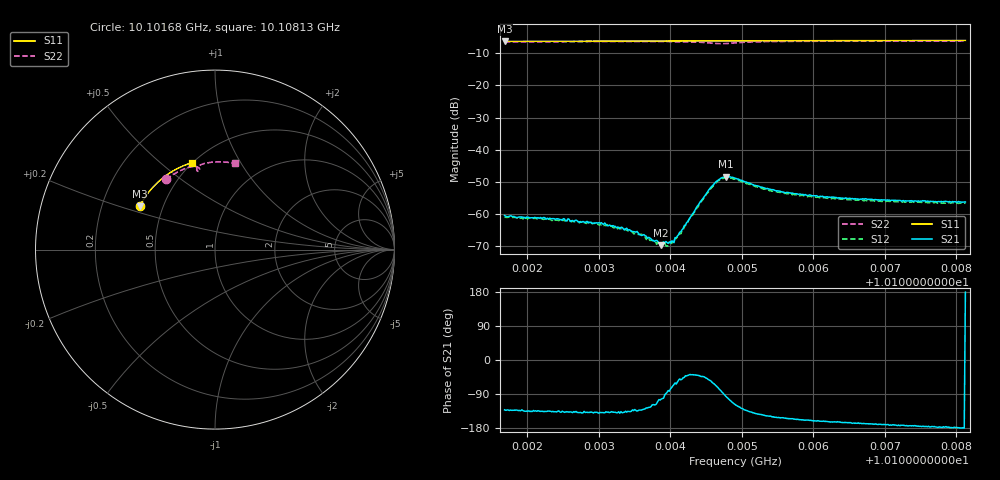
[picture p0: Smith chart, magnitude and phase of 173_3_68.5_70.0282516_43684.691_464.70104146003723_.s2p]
#  HZ  S  RI  R  50.00
! Rohde & Schwarz Vector Network Analyzer
! Rohde-Schwarz,ZNB20-2Port,1311601062101988,3.16
! Created: UTC 3/20/2024, 4:56:17 PM
! freq[Hz]  re:S11  im:S11  re:S21  im:S21  re:S12  im:S12  re:S22  im:S22
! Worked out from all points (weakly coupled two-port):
!   401 points, 10.10168 GHz to 10.10813 GHz, reference 50 ohm
!   highest |S21| = -48.36 dB at 10.10478 GHz (marker M1); lowest = -69.6 dB at 10.10387 GHz (marker M2)
!   lowest |S11| = -6.3 dB at 10.10168 GHz (marker M3), VSWR 2.88, Z = 18.5 + j11.6 ohm
!   |S11| at or under -10 dB: nowhere
!   |S22| runs from -7.0 to -6.1 dB; largest |S21 - S12| = 0.00038
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1.0101683e10  -0.4197 0.2414  -0.00063 -0.000715  -0.000531 -0.000705  -0.2715 0.3918
1.0102537e10  -0.3936 0.2863  -0.000577 -0.000536  -0.000521 -0.000595  -0.2252 0.4229
1.0102762e10  -0.3861 0.2978  -0.000571 -0.000487  -0.000523 -0.000539  -0.2125 0.4303
1.0103052e10  -0.3757 0.3122  -0.000531 -0.000471  -0.000473 -0.000498  -0.195 0.4391
1.0103407e10  -0.3623 0.3289  -0.000401 -0.000396  -0.000352 -0.000419  -0.173 0.4489
1.01036e10  -0.355 0.3379  -0.000312 -0.000346  -0.000285 -0.000396  -0.1602 0.4536
1.0103842e10  -0.3449 0.349  -8.78e-05 -0.000342  -8.6e-05 -0.00034  -0.1437 0.4588
1.0103874e10  -0.3436 0.3504  -7.55e-05 -0.000323  -6.99e-05 -0.000351  -0.1414 0.4595
1.010397e10  -0.3397 0.3547  5.7e-05 -0.000347  5.48e-05 -0.000319  -0.1343 0.4612
1.0104019e10  -0.3377 0.3568  0.000116 -0.000363  0.000131 -0.000324  -0.1304 0.462
1.0104067e10  -0.3355 0.3587  0.000212 -0.000377  0.000222 -0.000354  -0.1267 0.4623
1.0104164e10  -0.3313 0.3631  0.000362 -0.000443  0.000395 -0.000374  -0.1187 0.4633
1.0104244e10  -0.328 0.3664  0.000579 -0.000499  0.000602 -0.000461  -0.1118 0.4632
1.0104389e10  -0.3214 0.3726  0.00104 -0.00089  0.00106 -0.00076  -0.0985 0.4607
1.0104566e10  -0.3138 0.3796  0.00149 -0.00215  0.0016 -0.00193  -0.0857 0.4485
1.0104679e10  -0.3085 0.384  0.000829 -0.00334  0.0011 -0.00313  -0.088 0.4379
1.0104776e10  -0.3041 0.3881  -0.000374 -0.0038  -2.8e-05 -0.00366  -0.0966 0.4367
1.0104905e10  -0.2983 0.3931  -0.00166 -0.00323  -0.00131 -0.00324  -0.1021 0.4477
1.0105388e10  -0.2752 0.411  -0.00208 -0.0013  -0.00185 -0.00139  -0.0723 0.4756
1.0105984e10  -0.2452 0.4311  -0.00182 -0.000658  -0.00168 -0.000796  -0.0302 0.4856
1.0107063e10  -0.1878 0.4619  -0.00164 -0.000223  -0.00152 -0.000404  0.0413 0.4885
1.0108126e10  -0.1275 0.4843  -0.00155 2.88e-05  -0.00146 -0.000125  0.1094 0.4805
